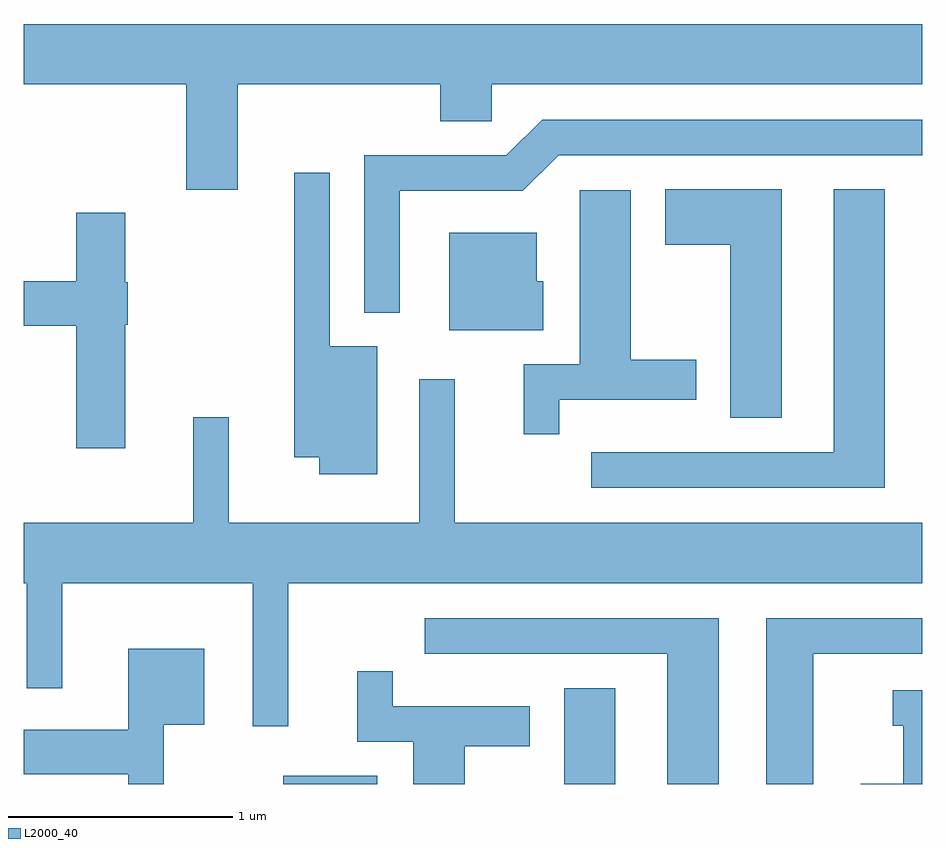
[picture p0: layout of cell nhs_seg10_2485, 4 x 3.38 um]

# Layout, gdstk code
import gdstk
lib = gdstk.Library(unit=1e-6, precision=1e-09)
def R(c, l, rs):  # rectangles x0, y0, x1, y1
    for r in rs: c.add(gdstk.rectangle(r[:2], r[2:], *l))
def P(c, l, *ps):  # polygons
    for p in ps: c.add(gdstk.Polygon(p, *l))
L2000_40 = (2000, 40)

nhs_seg10_2485 = lib.new_cell('nhs_seg10_2485')
R(nhs_seg10_2485, L2000_40, [(258.766,2168.522,259.184,2168.559), (260.016,2168.522,260.244,2168.949)])
P(nhs_seg10_2485, L2000_40, [(258.564,2171.636),(259.466,2171.636),(259.466,2171.471),(259.694,2171.471),(259.694,2171.636),(261.611,2171.636),(261.611,2171.904),(257.611,2171.904),(257.611,2171.636),(258.336,2171.636),(258.336,2171.166),(258.564,2171.166)],
  [(259.284,2171.161),(259.832,2171.161),(259.992,2171.321),(261.611,2171.321),(261.611,2171.479),(259.919,2171.479),(259.759,2171.319),(259.126,2171.319),(259.126,2170.618),(259.284,2170.618)],
  [(259.184,2170.469),(258.974,2170.469),(258.974,2171.243),(258.816,2171.243),(258.816,2169.976),(258.926,2169.976),(258.926,2169.901),(259.184,2169.901)],
  [(261.444,2171.169),(261.216,2171.169),(261.216,2169.999),(260.138,2169.999),(260.138,2169.841),(261.444,2169.841)],
  [(260.984,2171.169),(260.466,2171.169),(260.466,2170.921),(260.756,2170.921),(260.756,2170.151),(260.984,2170.151)],
  [(259.994,2170.231),(260.604,2170.231),(260.604,2170.409),(260.314,2170.409),(260.314,2171.164),(260.086,2171.164),(260.086,2170.389),(259.836,2170.389),(259.836,2170.078),(259.994,2170.078)],
  [(258.064,2170.565),(258.074,2170.565),(258.074,2170.755),(258.064,2170.755),(258.064,2171.064),(257.846,2171.064),(257.846,2170.759),(257.611,2170.759),(257.611,2170.561),(257.846,2170.561),(257.846,2170.016),(258.064,2170.016)],
  [(259.924,2170.759),(259.894,2170.759),(259.894,2170.974),(259.506,2170.974),(259.506,2170.541),(259.924,2170.541)],
  [(261.611,2169.684),(259.529,2169.684),(259.529,2170.323),(259.371,2170.323),(259.371,2169.684),(258.524,2169.684),(258.524,2170.153),(258.366,2170.153),(258.366,2169.684),(257.611,2169.684),(257.611,2169.416),(257.626,2169.416),(257.626,2168.948),(257.784,2168.948),(257.784,2169.416),(258.631,2169.416),(258.631,2168.778),(258.789,2168.778),(258.789,2169.416),(261.611,2169.416)],
  [(260.704,2169.259),(259.397,2169.259),(259.397,2169.101),(260.476,2169.101),(260.476,2168.522),(260.704,2168.522)],
  [(261.124,2169.101),(261.611,2169.101),(261.611,2169.259),(260.916,2169.259),(260.916,2168.522),(261.124,2168.522)],
  [(258.234,2168.786),(258.414,2168.786),(258.414,2169.124),(258.076,2169.124),(258.076,2168.764),(257.611,2168.764),(257.611,2168.566),(258.076,2168.566),(258.076,2168.522),(258.234,2168.522)],
  [(259.574,2168.691),(259.864,2168.691),(259.864,2168.869),(259.254,2168.869),(259.254,2169.023),(259.096,2169.023),(259.096,2168.711),(259.346,2168.711),(259.346,2168.522),(259.574,2168.522)],
  [(261.611,2168.939),(261.478,2168.939),(261.478,2168.781),(261.526,2168.781),(261.526,2168.524),(261.336,2168.524),(261.336,2168.522),(261.611,2168.522)])

lib.write_gds('nhs_seg10_2485.gds')
